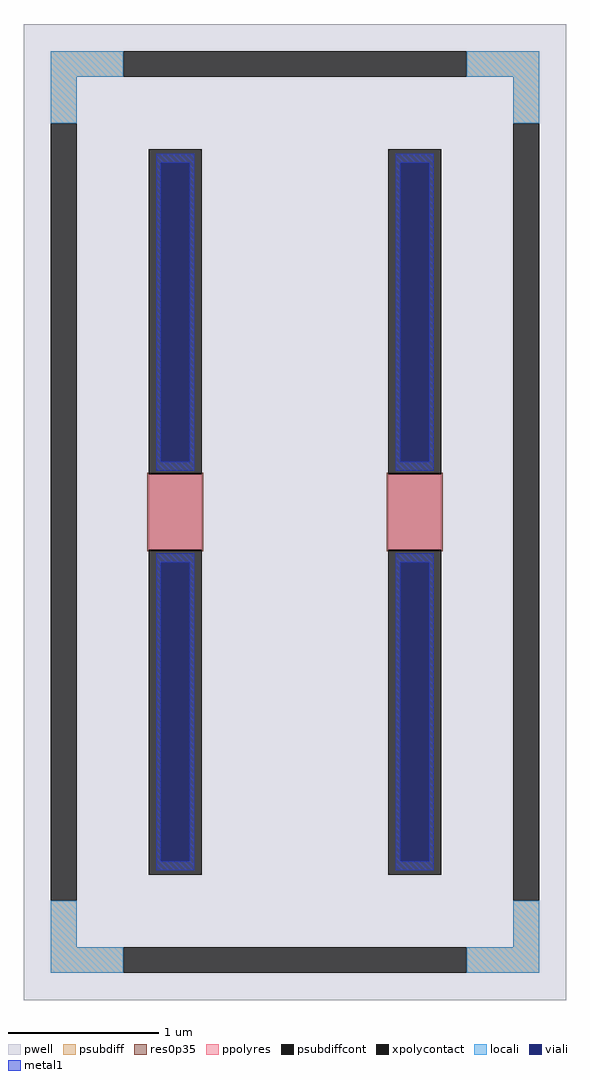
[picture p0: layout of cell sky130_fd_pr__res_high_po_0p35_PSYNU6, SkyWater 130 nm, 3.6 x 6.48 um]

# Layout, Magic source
magic
tech sky130A
magscale 1 2
<< pwell >>
rect -360 -648 360 648
<< psubdiff >>
rect -324 578 -228 612
rect 228 578 324 612
rect -324 516 -290 578
rect 290 516 324 578
rect -324 -578 -290 -516
rect 290 -578 324 -516
rect -324 -612 -228 -578
rect 228 -612 324 -578
<< psubdiffcont >>
rect -228 578 228 612
rect -324 -516 -290 516
rect 290 -516 324 516
rect -228 -612 228 -578
<< xpolycontact >>
rect -194 50 -124 482
rect -194 -482 -124 -50
rect 124 50 194 482
rect 124 -482 194 -50
<< ppolyres >>
rect -194 -50 -124 50
rect 124 -50 194 50
<< locali >>
rect -324 578 -228 612
rect 228 578 324 612
rect -324 516 -290 578
rect 290 516 324 578
rect -324 -578 -290 -516
rect 290 -578 324 -516
rect -324 -612 -228 -578
rect 228 -612 324 -578
<< viali >>
rect -178 67 -140 464
rect 140 67 178 464
rect -178 -464 -140 -67
rect 140 -464 178 -67
<< metal1 >>
rect -184 464 -134 476
rect -184 67 -178 464
rect -140 67 -134 464
rect -184 55 -134 67
rect 134 464 184 476
rect 134 67 140 464
rect 178 67 184 464
rect 134 55 184 67
rect -184 -67 -134 -55
rect -184 -464 -178 -67
rect -140 -464 -134 -67
rect -184 -476 -134 -464
rect 134 -67 184 -55
rect 134 -464 140 -67
rect 178 -464 184 -67
rect 134 -476 184 -464
<< res0p35 >>
rect -196 -52 -122 52
rect 122 -52 196 52
<< properties >>
string gencell sky130_fd_pr__res_high_po_0p35
string FIXED_BBOX -307 -595 307 595
string parameters w 0.350 l 0.50 m 1 nx 2 wmin 0.350 lmin 0.50 rho 319.8 val 566.502 dummy 0 dw 0.0 term 19.188 sterm 0.0 caplen 0 guard 1 glc 1 grc 1 gtc 1 gbc 1 compatible {sky130_fd_pr__res_high_po_0p35  sky130_fd_pr__res_high_po_0p69 sky130_fd_pr__res_high_po_1p41  sky130_fd_pr__res_high_po_2p85 sky130_fd_pr__res_high_po_5p73} full_metal 1 wmax 0.350 vias 1 viagb 0 viagt 0 viagl 0 viagr 0
string library sky130
<< end >>
